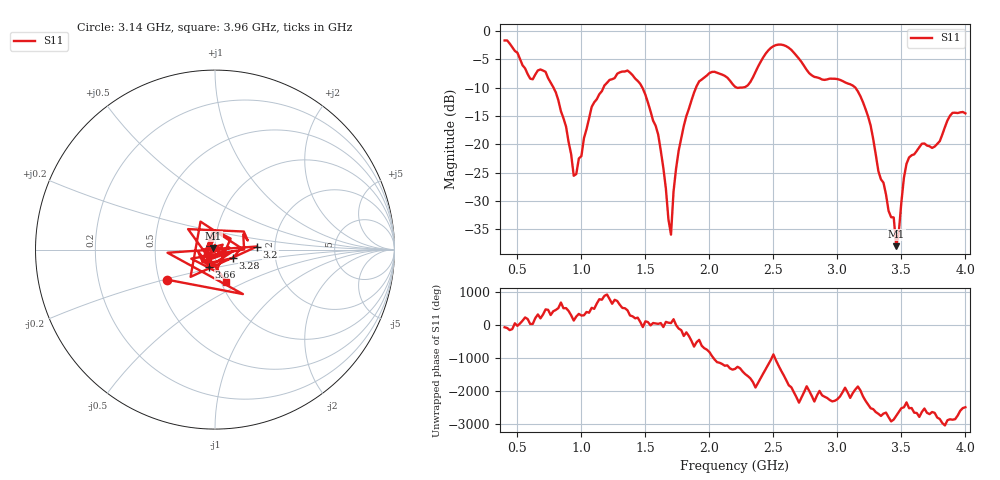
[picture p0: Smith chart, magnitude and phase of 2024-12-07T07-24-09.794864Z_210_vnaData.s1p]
!Created with skrf (http://scikit-rf.org).
# Hz S RI R 50.0
!freq ReS11 ImS11
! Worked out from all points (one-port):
!   181 points, 400 MHz to 4 GHz, reference 50 ohm
!   lowest |S11| = -38.0 dB at 3.46 GHz (marker M1), VSWR 1.03, Z = 49.1 + j0.868 ohm
!   |S11| at or under -10 dB: 781.8 MHz to 1.173 GHz (390.8 MHz wide, 40 % of centre); 1.476 GHz to 1.896 GHz (419.8 MHz wide, 24.9 % of centre); 3.14 GHz to end of sweep (the widest 3 of 4)
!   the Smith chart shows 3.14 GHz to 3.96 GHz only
!   S11 on the Smith chart (normalised r, x): 3.14 GHz: 0.55, -0.20; 3.2 GHz: 1.61, +0.06; 3.28 GHz: 1.22, -0.12; 3.66 GHz: 0.92, -0.18; 3.96 GHz: 1.06, -0.40
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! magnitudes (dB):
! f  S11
! 400 MHz  -1.7
! 600 MHz  -8.4
! 720 MHz  -7.2
! 860 MHz  -15.4
! 960 MHz  -25.3
! 1.08 GHz  -13.4
! 1.3 GHz  -7.3
! 1.46 GHz  -9.3
! 1.58 GHz  -16.7
! 1.7 GHz  -36.0
! 1.72 GHz  -28.3
! 1.76 GHz  -21.1
! 1.92 GHz  -8.9
! 2.2 GHz  -9.9
! 2.5 GHz  -2.7
! 2.66 GHz  -3.8
! 3.1 GHz  -9.4
! 3.14 GHz  -10.0
! 3.2 GHz  -12.6
! 3.28 GHz  -19.1
! 3.44 GHz  -32.9
! 3.46 GHz  -38.0
! 3.52 GHz  -25.9
! 3.56 GHz  -22.3
! 3.66 GHz  -19.9
! 3.76 GHz  -20.4
! 3.96 GHz  -14.4
! 4 GHz  -14.6
